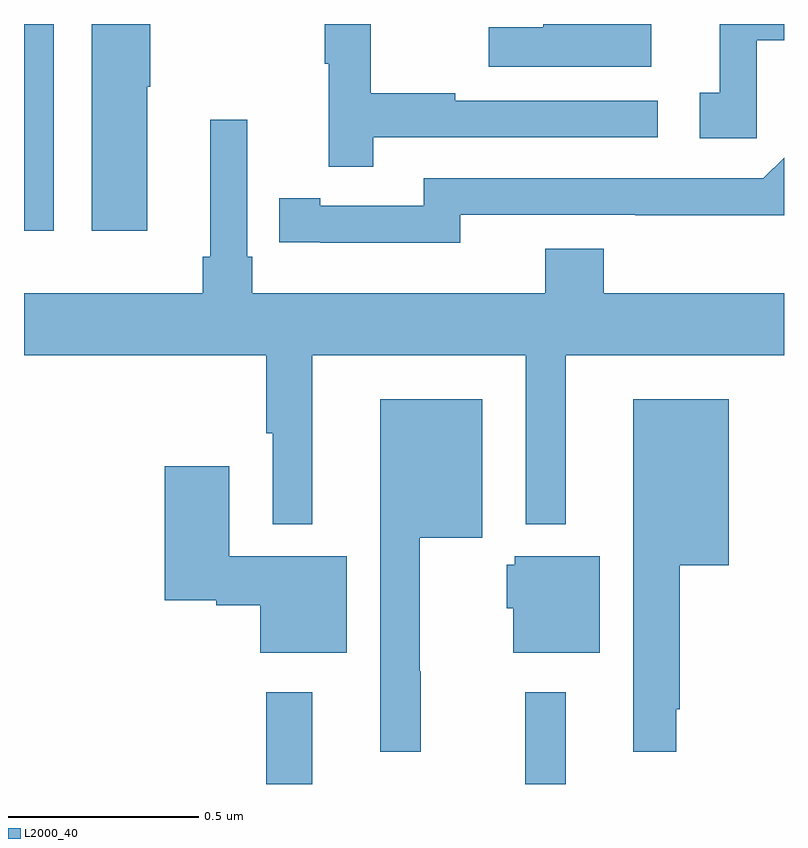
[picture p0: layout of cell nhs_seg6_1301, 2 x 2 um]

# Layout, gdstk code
import gdstk
lib = gdstk.Library(unit=1e-6, precision=1e-09)
def R(c, l, rs):  # rectangles x0, y0, x1, y1
    for r in rs: c.add(gdstk.rectangle(r[:2], r[2:], *l))
def P(c, l, *ps):  # polygons
    for p in ps: c.add(gdstk.Polygon(p, *l))
L2000_40 = (2000, 40)

nhs_seg6_1301 = lib.new_cell('nhs_seg6_1301')
R(nhs_seg6_1301, L2000_40, [(127.638,987.5,127.759,987.742), (128.319,987.5,128.425,987.742), (127,988.956,127.078,989.5)])
P(nhs_seg6_1301, L2000_40, [(128.65,989.5),(128.366,989.5),(128.366,989.491),(128.223,989.491),(128.223,989.387),(128.65,989.387)],
  [(127.919,989.202),(128.668,989.202),(128.668,989.298),(128.135,989.298),(128.135,989.318),(127.912,989.318),(127.912,989.5),(127.791,989.5),(127.791,989.395),(127.802,989.395),(127.802,989.124),(127.919,989.124)],
  [(128.928,989.457),(129,989.457),(129,989.5),(128.831,989.5),(128.831,989.319),(128.778,989.319),(128.778,989.199),(128.928,989.199)],
  [(127.324,989.335),(127.332,989.335),(127.332,989.5),(127.178,989.5),(127.178,988.956),(127.324,988.956)],
  [(127.759,988.628),(128.321,988.628),(128.321,988.184),(128.425,988.184),(128.425,988.628),(129,988.628),(129,988.792),(128.525,988.792),(128.525,988.909),(128.372,988.909),(128.372,988.792),(127.601,988.792),(127.601,988.888),(127.587,988.888),(127.587,989.248),(127.49,989.248),(127.49,988.888),(127.471,988.888),(127.471,988.792),(127,988.792),(127,988.628),(127.638,988.628),(127.638,988.423),(127.655,988.423),(127.655,988.184),(127.759,988.184)],
  [(128.148,988.998),(128.608,988.998),(128.608,988.997),(129,988.997),(129,989.148),(128.946,989.094),(128.052,989.094),(128.052,989.022),(127.78,989.022),(127.78,989.042),(127.672,989.042),(127.672,988.926),(127.78,988.926),(127.78,988.925),(128.148,988.925)],
  [(128.717,987.697),(128.725,987.697),(128.725,988.076),(128.854,988.076),(128.854,988.513),(128.603,988.513),(128.603,987.585),(128.717,987.585)],
  [(128.044,987.797),(128.041,987.797),(128.041,988.148),(128.206,988.148),(128.206,988.513),(127.937,988.513),(127.937,987.585),(128.044,987.585)],
  [(127.849,988.099),(127.54,988.099),(127.54,988.336),(127.37,988.336),(127.37,987.983),(127.506,987.983),(127.506,987.971),(127.622,987.971),(127.622,987.845),(127.849,987.845)],
  [(128.515,988.099),(128.292,988.099),(128.292,988.077),(128.27,988.077),(128.27,987.963),(128.288,987.963),(128.288,987.845),(128.515,987.845)])

lib.write_gds('nhs_seg6_1301.gds')
